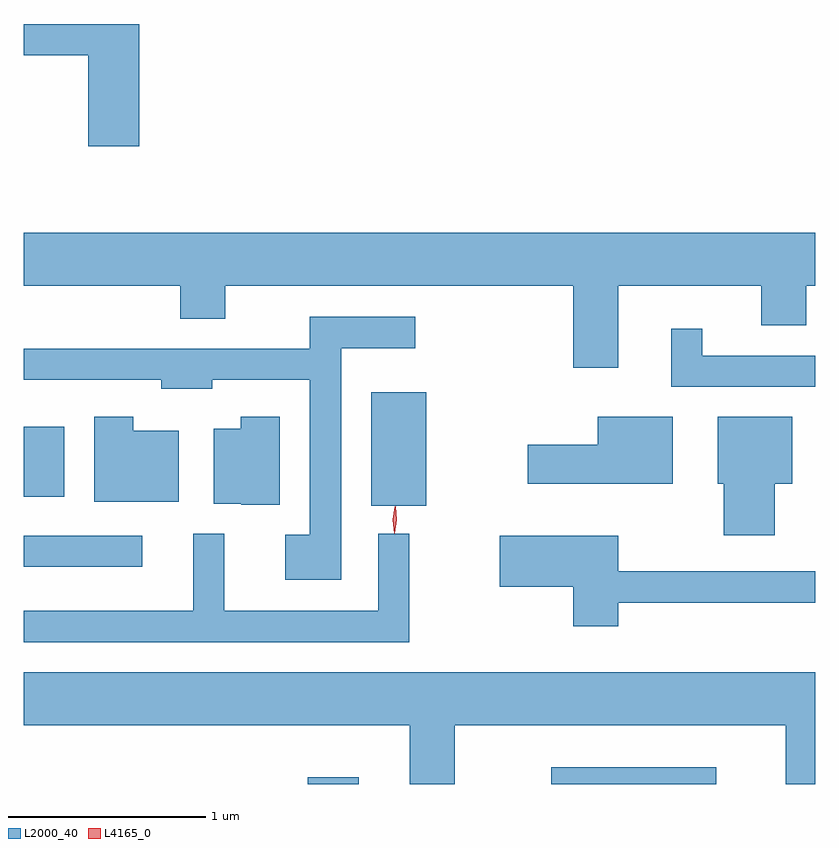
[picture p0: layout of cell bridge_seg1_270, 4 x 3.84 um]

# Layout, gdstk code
import gdstk
lib = gdstk.Library(unit=1e-6, precision=1e-09)
def R(c, l, rs):  # rectangles x0, y0, x1, y1
    for r in rs: c.add(gdstk.rectangle(r[:2], r[2:], *l))
def P(c, l, *ps):  # polygons
    for p in ps: c.add(gdstk.Polygon(p, *l))
L2000_40 = (2000, 40)
L4165_0 = (4165, 0)

bridge_seg1_270 = lib.new_cell('bridge_seg1_270')
R(bridge_seg1_270, L2000_40, [(901.616,897.059,901.874,897.094), (902.846,897.059,903.679,897.144), (900.18,898.156,900.778,898.314), (901.936,898.466,902.214,899.039), (900.18,898.511,900.384,898.864)])
P(bridge_seg1_270, L2000_40, [(900.764,900.899),(900.18,900.899),(900.18,900.741),(900.506,900.741),(900.506,900.281),(900.764,900.281)],
  [(903.184,899.576),(903.906,899.576),(903.906,899.376),(904.134,899.376),(904.134,899.576),(904.18,899.576),(904.18,899.844),(900.18,899.844),(900.18,899.576),(900.971,899.576),(900.971,899.411),(901.199,899.411),(901.199,899.576),(902.956,899.576),(902.956,899.161),(903.184,899.161)],
  [(901.784,899.261),(902.158,899.261),(902.158,899.419),(901.626,899.419),(901.626,899.259),(900.18,899.259),(900.18,899.101),(900.876,899.101),(900.876,899.056),(901.134,899.056),(901.134,899.101),(901.626,899.101),(901.626,898.319),(901.501,898.319),(901.501,898.091),(901.784,898.091)],
  [(904.18,899.224),(903.609,899.224),(903.609,899.358),(903.451,899.358),(903.451,899.066),(904.18,899.066)],
  [(903.974,898.576),(904.064,898.576),(904.064,898.914),(903.686,898.914),(903.686,898.576),(903.716,898.576),(903.716,898.316),(903.974,898.316)],
  [(903.459,898.914),(903.081,898.914),(903.081,898.774),(902.726,898.774),(902.726,898.576),(903.459,898.576)],
  [(901.474,898.914),(901.276,898.914),(901.276,898.854),(901.141,898.854),(901.141,898.476),(901.28,898.476),(901.28,898.471),(901.474,898.471)],
  [(900.964,898.844),(900.734,898.844),(900.734,898.914),(900.536,898.914),(900.536,898.486),(900.964,898.486)],
  [(902.129,898.323),(901.971,898.323),(901.971,897.934),(901.194,897.934),(901.194,898.323),(901.036,898.323),(901.036,897.934),(900.18,897.934),(900.18,897.776),(902.129,897.776)],
  [(903.184,897.976),(904.18,897.976),(904.18,898.134),(903.184,898.134),(903.184,898.314),(902.586,898.314),(902.586,898.056),(902.956,898.056),(902.956,897.856),(903.184,897.856)],
  [(902.359,897.356),(904.031,897.356),(904.031,897.059),(904.18,897.059),(904.18,897.624),(900.18,897.624),(900.18,897.356),(902.131,897.356),(902.131,897.059),(902.359,897.059)])
P(bridge_seg1_270, L4165_0, [(902.053,898.328),(902.045,898.394),(902.056,898.459),(902.056,898.46),(902.057,898.459),(902.065,898.393),(902.054,898.328),(902.054,898.328)],
  [(902.054,898.324),(902.053,898.325),(902.046,898.393),(902.058,898.461),(902.059,898.462),(902.06,898.461),(902.066,898.393),(902.054,898.325)])

lib.write_gds('bridge_seg1_270.gds')
